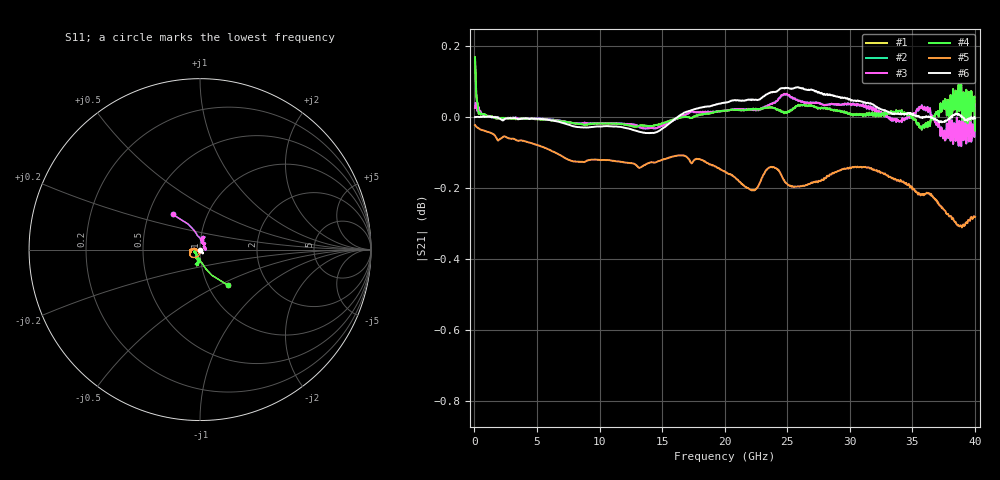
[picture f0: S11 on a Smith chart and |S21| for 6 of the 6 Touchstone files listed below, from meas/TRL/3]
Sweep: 50 MHz to 40 GHz
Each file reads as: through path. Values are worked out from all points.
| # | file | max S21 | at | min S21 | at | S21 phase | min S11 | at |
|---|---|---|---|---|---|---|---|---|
| 1 | CONA.S2P | 0.17 dB | 50 MHz | 0.0 dB | 40 GHz | 177 deg at 20.05 GHz | -31.4 dB | 1.95 GHz |
| 2 | CONB.S2P | 0.06 dB | 24.95 GHz | -0.1 dB | 38.9 GHz | 177 deg at 20.05 GHz | -32.0 dB | 2.05 GHz |
| 3 | fixture_DUTPort_TestPort.s2p | 0.06 dB | 24.95 GHz | -0.1 dB | 38.9 GHz | -3 deg at 20.05 GHz | -32.0 dB | 2.05 GHz |
| 4 | fixture_TestPort_DUTPort.s2p | 0.17 dB | 50 MHz | 0.0 dB | 40 GHz | -3 deg at 20.05 GHz | -31.4 dB | 1.95 GHz |
| 5 | line.s2p | -0.02 dB | 50 MHz | -0.3 dB | 38.95 GHz | -93 deg at 20.05 GHz | -51.9 dB | 50 MHz |
| 6 | thru.s2p | 0.08 dB | 25.85 GHz | 0.0 dB | 14 GHz | -6 deg at 20.05 GHz | -75.5 dB | 100 MHz |
